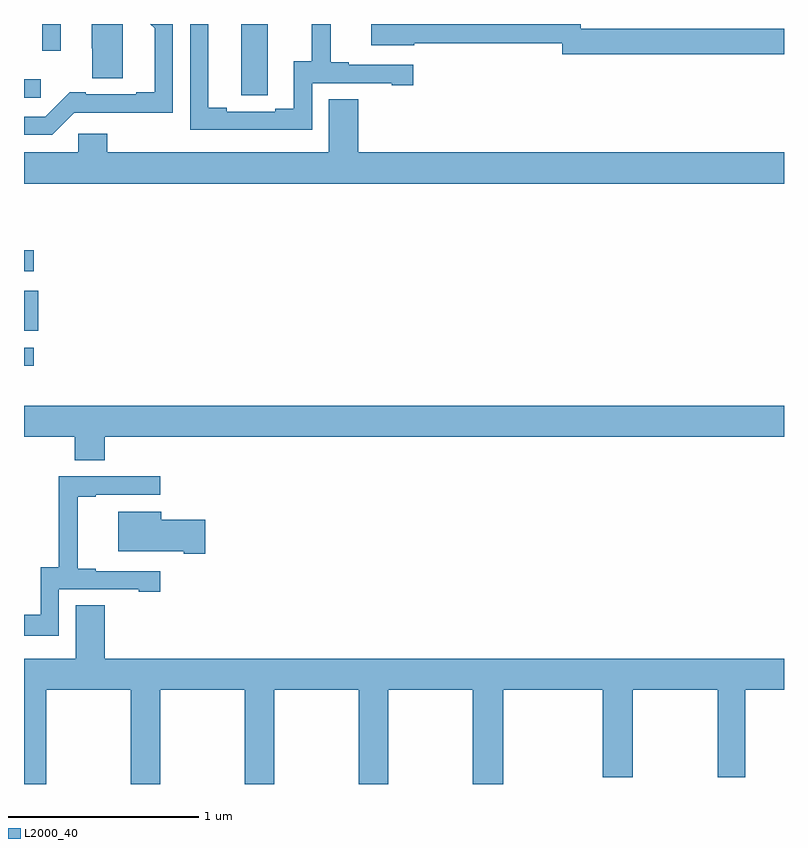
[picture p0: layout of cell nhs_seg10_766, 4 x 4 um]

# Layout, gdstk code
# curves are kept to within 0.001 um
import gdstk
lib = gdstk.Library(unit=1e-6, precision=1e-09)
def R(c, l, rs):  # rectangles x0, y0, x1, y1
    for r in rs: c.add(gdstk.rectangle(r[:2], r[2:], *l))
def P(c, l, *ps):  # polygons
    for p in ps: c.add(gdstk.Polygon(p, *l))
L2000_40 = (2000, 40)

nhs_seg10_766 = lib.new_cell('nhs_seg10_766')
R(nhs_seg10_766, L2000_40, [(149,1288.701,149.05,1288.797), (149,1288.886,149.074,1289.095), (149,1289.199,149.05,1289.308), (149,1290.111,149.089,1290.208), (149.097,1290.36,149.194,1290.5)])
P(nhs_seg10_766, L2000_40, [(150.282,1290.232),(150.283,1290.232),(150.283,1290.5),(150.143,1290.5),(150.143,1290.124),(150.282,1290.124)],
  [(153,1290.476),(151.929,1290.476),(151.929,1290.5),(150.827,1290.5),(150.827,1290.389),(151.054,1290.389),(151.054,1290.4),(151.833,1290.4),(151.833,1290.34),(153,1290.34)],
  [(150.516,1290.189),(150.935,1290.189),(150.935,1290.177),(151.048,1290.177),(151.048,1290.285),(150.709,1290.285),(150.709,1290.298),(150.614,1290.298),(150.614,1290.5),(150.514,1290.5),(150.514,1290.305),(150.419,1290.305),(150.419,1290.054),(150.323,1290.054),(150.323,1290.039),(150.067,1290.039),(150.067,1290.059),(149.971,1290.059),(149.971,1290.5),(149.874,1290.5),(149.874,1289.943),(150.516,1289.943)],
  [(149.265,1290.033),(149.784,1290.032),(149.784,1290.5),(149.665,1290.5),(149.687,1290.478),(149.687,1290.142),(149.591,1290.142),(149.591,1290.129),(149.326,1290.129),(149.326,1290.14),(149.24,1290.14),(149.112,1290.012),(149,1290.012),(149,1289.916),(149.148,1289.916)],
  [(149.521,1290.5),(149.357,1290.5),(149.357,1290.372),(149.359,1290.372),(149.359,1290.214),(149.521,1290.214)],
  [(153,1289.824),(150.758,1289.824),(150.758,1290.104),(150.605,1290.104),(150.605,1289.824),(149.438,1289.824),(149.438,1289.922),(149.286,1289.922),(149.286,1289.824),(149,1289.824),(149,1289.66),(153,1289.66)],
  [(149.426,1288.328),(153,1288.328),(153,1288.492),(149,1288.492),(149,1288.328),(149.266,1288.328),(149.266,1288.204),(149.426,1288.204)],
  [(149.184,1287.525),(149.603,1287.525),(149.603,1287.513),(149.716,1287.513),(149.716,1287.621),(149.377,1287.621),(149.377,1287.634),(149.282,1287.634),(149.282,1288.011),(149.377,1288.011),(149.377,1288.023),(149.716,1288.023),(149.716,1288.119),(149.182,1288.119),(149.182,1287.641),(149.087,1287.641),(149.087,1287.39),(149,1287.39),(149,1287.279),(149.184,1287.279)],
  [(149.953,1287.891),(149.722,1287.891),(149.722,1287.934),(149.495,1287.934),(149.495,1287.725),(149.84,1287.725),(149.84,1287.713),(149.953,1287.713)],
  [(149.118,1286.996),(149.563,1286.996),(149.563,1286.5),(149.718,1286.5),(149.718,1286.996),(150.163,1286.996),(150.163,1286.5),(150.318,1286.5),(150.318,1286.996),(150.763,1286.996),(150.763,1286.5),(150.918,1286.5),(150.918,1286.996),(151.363,1286.996),(151.363,1286.5),(151.523,1286.5),(151.523,1286.996),(152.045,1286.996),(152.045,1286.535),(152.205,1286.535),(152.205,1286.996),(152.65,1286.996),(152.65,1286.535),(152.797,1286.535),(152.797,1286.996),(153,1286.996),(153,1287.16),(149.426,1287.16),(149.426,1287.44),(149.273,1287.44),(149.273,1287.16),(149,1287.16),(149,1286.5),(149.118,1286.5)])

lib.write_gds('nhs_seg10_766.gds')
